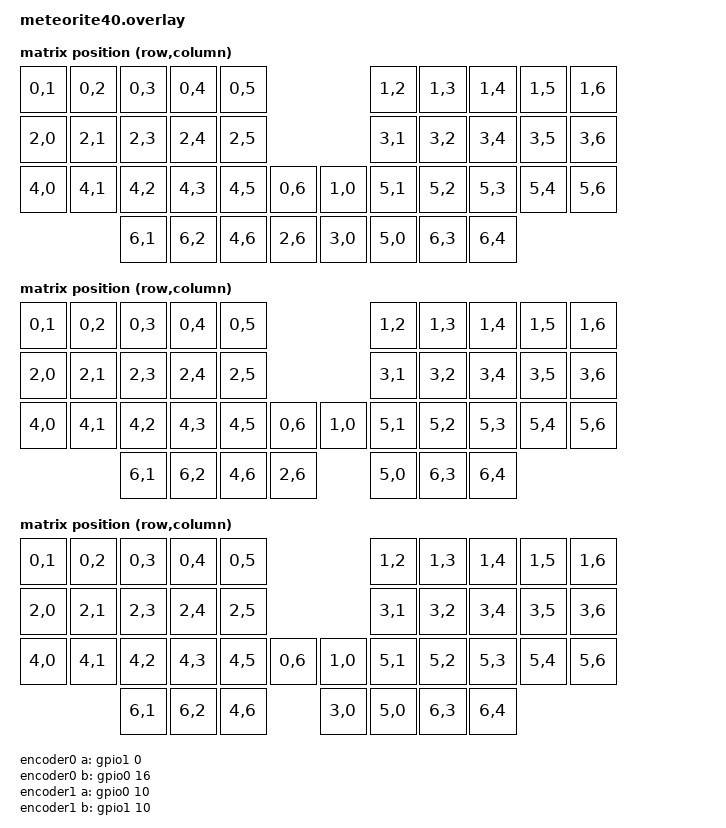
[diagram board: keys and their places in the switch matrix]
#include "../common/meteorite40.dtsi"
#include "../common/meteorite40-usb.overlay"
#include "meteorite40-layout.dtsi"

&LAYOUT_SPLIT_SPACE {
    transform = <&transform_split_space>;
};

&LAYOUT_2U_SPACE {
    transform = <&transform_2u_space>;
};

&LAYOUT_225U_SPACE_LEFT {
    transform = <&transform_225u_space_left>;
};

&LAYOUT_225U_SPACE_RIGHT {
    transform = <&transform_225u_space_right>;
};

&LAYOUT_225U_SPACE_DOUBLE {
    transform = <&transform_225u_space_double>;
};

/ {
    chosen {
        zmk,kscan = &meteorite40_scan;
        zmk,physical-layout = &LAYOUT_SPLIT_SPACE;
        //transform = <&default_transform>;
    };

    transform_split_space: keymap_transform_split_space {
        compatible = "zmk,matrix-transform";
        columns = <7>;
        rows = <7>;
        map = <
            RC(0,1) RC(0,2) RC(0,3) RC(0,4) RC(0,5)                 RC(1,2) RC(1,3) RC(1,4) RC(1,5) RC(1,6)
            RC(2,0) RC(2,1) RC(2,3) RC(2,4) RC(2,5)                 RC(3,1) RC(3,2) RC(3,4) RC(3,5) RC(3,6)
            RC(4,0) RC(4,1) RC(4,2) RC(4,3) RC(4,5) RC(0,6) RC(1,0) RC(5,1) RC(5,2) RC(5,3) RC(5,4) RC(5,6)
                            RC(6,1) RC(6,2) RC(4,6) RC(2,6) RC(3,0) RC(5,0) RC(6,3) RC(6,4)  
        >;
    };

    transform_2u_space: keymap_transform_2u_space {
        compatible = "zmk,matrix-transform";
        columns = <7>;
        rows = <7>;
        map = <
            RC(0,1) RC(0,2) RC(0,3) RC(0,4) RC(0,5)                 RC(1,2) RC(1,3) RC(1,4) RC(1,5) RC(1,6)
            RC(2,0) RC(2,1) RC(2,3) RC(2,4) RC(2,5)                 RC(3,1) RC(3,2) RC(3,4) RC(3,5) RC(3,6)
            RC(4,0) RC(4,1) RC(4,2) RC(4,3) RC(4,5) RC(0,6) RC(1,0) RC(5,1) RC(5,2) RC(5,3) RC(5,4) RC(5,6)
                            RC(6,1) RC(6,2) RC(4,6)     RC(2,6)     RC(5,0) RC(6,3) RC(6,4)  
        >;
    };

    transform_225u_space_left: keymap_transform_225u_space_left {
        compatible = "zmk,matrix-transform";
        columns = <7>;
        rows = <7>;
        map = <
            RC(0,1) RC(0,2) RC(0,3) RC(0,4) RC(0,5)                 RC(1,2) RC(1,3) RC(1,4) RC(1,5) RC(1,6)
            RC(2,0) RC(2,1) RC(2,3) RC(2,4) RC(2,5)                 RC(3,1) RC(3,2) RC(3,4) RC(3,5) RC(3,6)
            RC(4,0) RC(4,1) RC(4,2) RC(4,3) RC(4,5) RC(0,6) RC(1,0) RC(5,1) RC(5,2) RC(5,3) RC(5,4) RC(5,6)
                            RC(6,1) RC(6,2)     RC(4,6)     RC(3,0) RC(5,0) RC(6,3) RC(6,4)  
        >;
    };

    transform_225u_space_right: keymap_transform_225u_space_right {
        compatible = "zmk,matrix-transform";
        columns = <7>;
        rows = <7>;
        map = <
            RC(0,1) RC(0,2) RC(0,3) RC(0,4) RC(0,5)                 RC(1,2) RC(1,3) RC(1,4) RC(1,5) RC(1,6)
            RC(2,0) RC(2,1) RC(2,3) RC(2,4) RC(2,5)                 RC(3,1) RC(3,2) RC(3,4) RC(3,5) RC(3,6)
            RC(4,0) RC(4,1) RC(4,2) RC(4,3) RC(4,5) RC(0,6) RC(1,0) RC(5,1) RC(5,2) RC(5,3) RC(5,4) RC(5,6)
                            RC(6,1) RC(6,2) RC(4,6) RC(2,6)    RC(5,0)      RC(6,3) RC(6,4)  
        >;
    };

    transform_225u_space_double: keymap_transform_225u_space_double {
        compatible = "zmk,matrix-transform";
        columns = <7>;
        rows = <7>;
        map = <
            RC(0,1) RC(0,2) RC(0,3) RC(0,4) RC(0,5)                 RC(1,2) RC(1,3) RC(1,4) RC(1,5) RC(1,6)
            RC(2,0) RC(2,1) RC(2,3) RC(2,4) RC(2,5)                 RC(3,1) RC(3,2) RC(3,4) RC(3,5) RC(3,6)
            RC(4,0) RC(4,1) RC(4,2) RC(4,3) RC(4,5) RC(0,6) RC(1,0) RC(5,1) RC(5,2) RC(5,3) RC(5,4) RC(5,6)
                            RC(6,1) RC(6,2)     RC(4,6)          RC(5,0)      RC(6,3) RC(6,4)  
        >;
    };

    /*
    meteorite40_scan: kscan0 {
        compatible = "zmk,kscan-gpio-charlieplex";
        gpios = <&gpio0 2 GPIO_ACTIVE_HIGH>,  // ID0: P0.02
                <&gpio0 3 GPIO_ACTIVE_HIGH>,  // ID1: P0.03
                <&gpio0 28 GPIO_ACTIVE_HIGH>, // ID2: P0.28
                <&gpio0 29 GPIO_ACTIVE_HIGH>, // ID3: P0.29
                <&gpio0 4 GPIO_ACTIVE_HIGH>,  // ID4: P0.04
                <&gpio0 5 GPIO_ACTIVE_HIGH>,  // ID5: P0.05
                <&gpio1 11 GPIO_ACTIVE_HIGH>; // ID6: P1.11

        interrupt-gpios = <&gpio0 9 (GPIO_ACTIVE_HIGH | GPIO_PULL_DOWN)>; // Changed to P0.09 (NFC1)
        debounce-press-ms = <DEBOUNCE_MS>;
        debounce-release-ms = <DEBOUNCE_MS>;
        poll-period-ms = <POLL_PERIOD_MS>;
        wakeup-source;
    };
    */

    encoder0: ec11_0 {
        compatible = "alps,ec11";
        a-gpios = <&gpio1 0 (GPIO_ACTIVE_LOW   | GPIO_PULL_UP)>;   // RE0_A: P1.00
        b-gpios = <&gpio0 16 (GPIO_ACTIVE_LOW   | GPIO_PULL_UP)>;  // RE0_B: P0.16
        steps = <96>;
        status = "okay";
    };

    encoder1: ec11_1 {
        compatible = "alps,ec11";
        a-gpios = <&gpio0 10 (GPIO_ACTIVE_LOW   | GPIO_PULL_UP)>;  // RE1_A: P0.10 (NFC2)
        b-gpios = <&gpio1 10 (GPIO_ACTIVE_LOW   | GPIO_PULL_UP)>;  // RE1_B: P1.10
        steps = <96>;
        status = "okay";
    };

    sensors: sensors {
        compatible = "zmk,keymap-sensors";
        sensors = <&encoder0 &encoder1>;
        triggers-per-rotation = <24>;
    };
};
